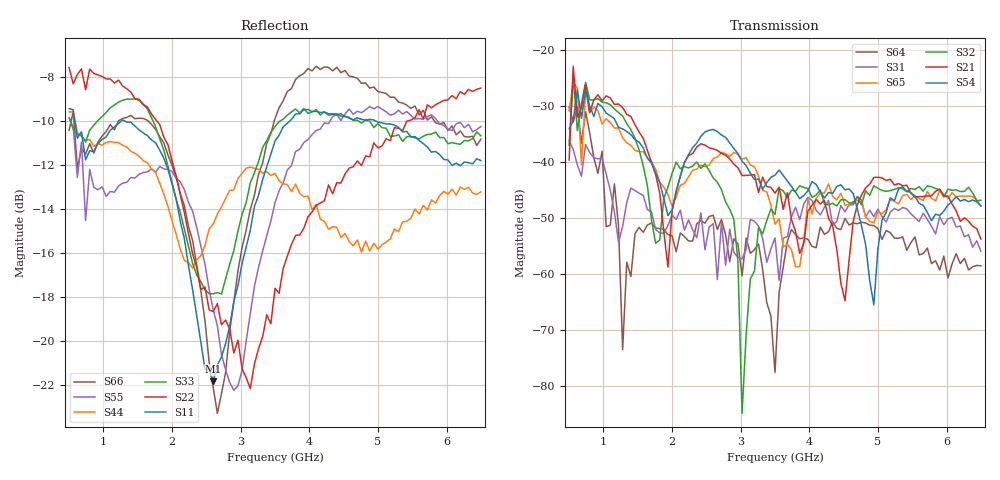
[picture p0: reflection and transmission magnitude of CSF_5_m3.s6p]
!Keysight Technologies,M9804A,MY58100912,A.14.10.03
!Date: Thursday, April 27, 2023 10:28:33
!Correction: S11(C  6-Port  )
!S12(C  6-Port  )
!S13(C  6-Port  )
!S14(C  6-Port  )
!S15(C  6-Port  )
!S16(C  6-Port  )
!S21(C  6-Port  )
!S22(C  6-Port  )
!S23(C  6-Port  )
!S24(C  6-Port  )
!S25(C  6-Port  )
!S26(C  6-Port  )
!S31(C  6-Port  )
!S32(C  6-Port  )
!S33(C  6-Port  )
!S34(C  6-Port  )
!S35(C  6-Port  )
!S36(C  6-Port  )
!S41(C  6-Port  )
!S42(C  6-Port  )
!S43(C  6-Port  )
!S44(C  6-Port  )
!S45(C  6-Port  )
!S46(C  6-Port  )
!S51(C  6-Port  )
!S52(C  6-Port  )
!S53(C  6-Port  )
!S54(C  6-Port  )
!S55(C  6-Port  )
!S56(C  6-Port  )
!S61(C  6-Port  )
!S62(C  6-Port  )
!S63(C  6-Port  )
!S64(C  6-Port  )
!S65(C  6-Port  )
!S66(C  6-Port  )
!S6P File: Measurement: :
# Hz S  RI  R 50
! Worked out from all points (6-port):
!   101 points, 500 MHz to 6.5 GHz, reference 50 ohm
!   strongest paths, dB at 500 MHz, 2 GHz, 3.5 GHz, 5 GHz, 6.5 GHz:
!     S54: -34.1, -48.6, -42.4, -55.6, -47.9
!     S21: -39.7, -48.9, -45.6, -42.8, -53.8
!     S32: -37.0, -42.1, -49.4, -44.7, -46.9
!     S65: -30.9, -48.0, -51.2, -48.9, -47.9
!     S31: -36.3, -49.5, -53.6, -48.5, -56.0
!     S64: -30.2, -53.2, -77.7, -52.0, -58.6
!   lowest |S11| = -21.8 dB at 2.6 GHz (marker M1), VSWR 1.18, Z = 42.7 + j1.91 ohm
!   |S11| at or under -10 dB: 582.8 MHz to 1.27 GHz (686.9 MHz wide, 74.2 % of centre); 1.298 GHz to 3.721 GHz (2.424 GHz wide, 96.6 % of centre); 4.957 GHz to end of sweep
